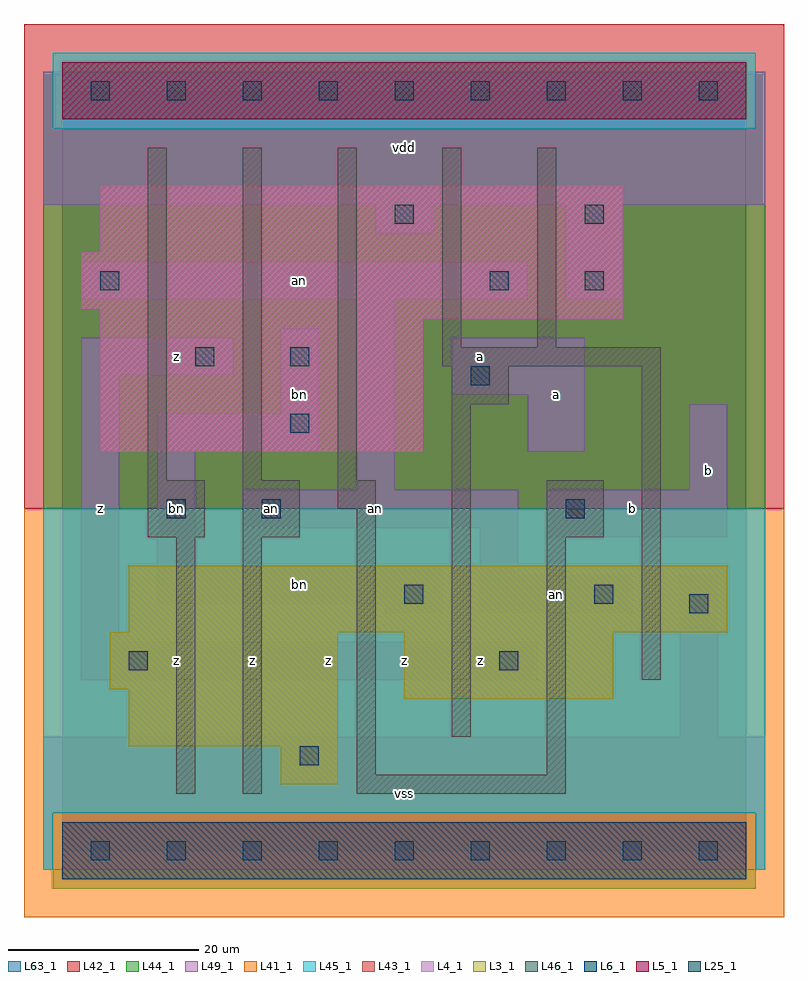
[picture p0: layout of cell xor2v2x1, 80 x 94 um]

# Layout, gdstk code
import gdstk
lib = gdstk.Library(unit=1e-6, precision=1e-09)
def R(c, l, rs):  # rectangles x0, y0, x1, y1
    for r in rs: c.add(gdstk.rectangle(r[:2], r[2:], *l))
def A(c, l, x, y, w, h, nx, ny, dx, dy):  # array of equal rectangles
    R(c, l, [(x+i*dx, y+j*dy, x+i*dx+w, y+j*dy+h) for i in range(nx) for j in range(ny)])
L3_1 = (3, 1)
L4_1 = (4, 1)
L5_1 = (5, 1)
L6_1 = (6, 1)
L25_1 = (25, 1)
L41_1 = (41, 1)
L42_1 = (42, 1)
L43_1 = (43, 1)
L44_1 = (44, 1)
L45_1 = (45, 1)
L46_1 = (46, 1)
L49_1 = (49, 1)
L63_1 = (63, 1)

xor2v2x1 = lib.new_cell('xor2v2x1')
R(xor2v2x1, L3_1, [(23,7,29,11), (7,11,29,17), (36,16,58,23), (5,17,29,23), (7,23,70,30)])
R(xor2v2x1, L4_1, [(4,42,38,56), (4,56,59,57), (2,57,59,63), (4,63,59,70)])
R(xor2v2x1, L5_1, [(0,77,72,83)])
R(xor2v2x1, L6_1, [(0,-3,72,3), (0,-3,72,3)])
A(xor2v2x1, L25_1, 3, -1, 2, 2, 9, 2, 8, 80)
R(xor2v2x1, L25_1, [(25,9,27,11), (7,19,9,21), (46,19,48,21), (66,25,68,27), (36,26,38,28), (56,26,58,28), (11,35,13,37), (21,35,23,37), (53,35,55,37), (24,44,26,46), (43,49,45,51), (14,51,16,53), (24,51,26,53), (4,59,6,61), (45,59,47,61), (55,59,57,61), (35,66,37,68), (55,66,57,68)])
R(xor2v2x1, L41_1, [(-4,-7,76,36)])
R(xor2v2x1, L42_1, [(-4,36,76,87)])
R(xor2v2x1, L43_1, [(0,-3,72,3), (23,7,29,11), (7,11,29,17), (36,16,58,23), (5,17,29,23), (7,23,70,30), (4,42,38,56), (4,56,59,57), (2,57,59,63), (4,63,59,70), (0,77,72,83)])
R(xor2v2x1, L44_1, [(-1,-4,73,4), (-2,36,74,76), (-2,76,-1,82), (73,76,74,82)])
R(xor2v2x1, L45_1, [(-2,-2,-1,4), (73,-2,74,4), (-2,4,74,36), (-1,76,73,84)])
A(xor2v2x1, L46_1, 9, 39, 2, 35, 3, 1, 10, 0)
R(xor2v2x1, L46_1, [(12,6,14,33), (19,6,21,33), (31,6,53,8), (31,8,33,36), (51,8,53,33), (41,12,43,47), (61,18,63,51), (9,33,15,39), (19,33,25,39), (51,33,57,39), (29,36,33,39), (41,47,47,51), (40,51,63,53), (40,53,42,74), (50,53,52,74)])
R(xor2v2x1, L49_1, [(-2,-2,74,12), (65,12,69,29), (2,18,50,22), (2,22,6,50), (34,25,40,26), (44,25,60,29), (10,26,40,30), (44,29,48,34), (10,30,14,42), (51,33,70,38), (19,34,48,38), (31,38,35,58), (66,38,70,47), (10,42,27,46), (49,42,55,48), (23,46,27,55), (41,48,55,54), (2,50,18,54), (2,58,49,62), (53,58,59,68), (33,65,39,68), (-2,68,74,82)])
R(xor2v2x1, L63_1, [(0,0,72,80)])
xor2v2x1.add(gdstk.Label('bn', (12,36), layer=49, texttype=1))
xor2v2x1.add(gdstk.Label('an', (22,36), layer=49, texttype=1))
xor2v2x1.add(gdstk.Label('z', (4,36), layer=49, texttype=1))
xor2v2x1.add(gdstk.Label('z', (12,20), layer=49, texttype=1))
xor2v2x1.add(gdstk.Label('z', (20,20), layer=49, texttype=1))
xor2v2x1.add(gdstk.Label('bn', (12,36), layer=49, texttype=1))
xor2v2x1.add(gdstk.Label('bn', (25,48), layer=49, texttype=1))
xor2v2x1.add(gdstk.Label('z', (12,52), layer=49, texttype=1))
xor2v2x1.add(gdstk.Label('vss', (36,6), layer=49, texttype=1))
xor2v2x1.add(gdstk.Label('z', (28,20), layer=49, texttype=1))
xor2v2x1.add(gdstk.Label('bn', (25,28), layer=49, texttype=1))
xor2v2x1.add(gdstk.Label('z', (36,20), layer=49, texttype=1))
xor2v2x1.add(gdstk.Label('vdd', (36,74), layer=49, texttype=1))
xor2v2x1.add(gdstk.Label('z', (44,20), layer=49, texttype=1))
xor2v2x1.add(gdstk.Label('an', (33,36), layer=49, texttype=1))
xor2v2x1.add(gdstk.Label('a', (52,48), layer=49, texttype=1))
xor2v2x1.add(gdstk.Label('a', (44,52), layer=49, texttype=1))
xor2v2x1.add(gdstk.Label('an', (25,60), layer=49, texttype=1))
xor2v2x1.add(gdstk.Label('an', (52,27), layer=49, texttype=1))
xor2v2x1.add(gdstk.Label('b', (60,36), layer=49, texttype=1))
xor2v2x1.add(gdstk.Label('b', (68,40), layer=49, texttype=1))

lib.write_gds('xor2v2x1.gds')
